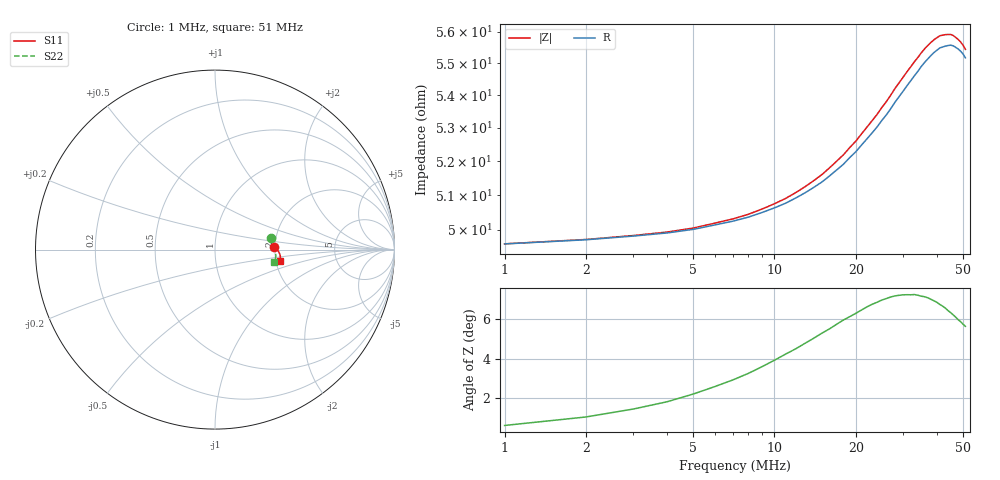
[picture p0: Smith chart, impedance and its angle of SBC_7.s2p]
# MHz S RI R 50
! S-Parameters data
! Freq  reS11  imS11  reS21  imS21  reS12  imS12  reS22  imS22
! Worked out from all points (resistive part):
!   51 points, 1 MHz to 51 MHz, reference 50 ohm
!   read as one part in series: R = 49.6 ohm at 1 MHz
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1  0.3292 0.0159  0.6587 0.0269  0.6646 0.0277  0.312 0.0623
2  0.331 0.0092  0.6608 0.00967  0.6667 0.01  0.318 0.0334
3  0.3318 0.00687  0.6611 0.0018  0.6671 0.00208  0.3202 0.023
4  0.3325 0.00571  0.6611 -0.00336  0.667 -0.0032  0.3216 0.0177
5  0.3331 0.00499  0.6609 -0.00781  0.6668 -0.00757  0.3227 0.0141
6  0.3338 0.00435  0.6604 -0.0118  0.6666 -0.0116  0.3237 0.0113
7  0.3345 0.00438  0.6601 -0.0148  0.6661 -0.0147  0.3245 0.00954
8  0.3352 0.00392  0.6596 -0.018  0.6655 -0.0181  0.3253 0.00768
10  0.3367 0.00316  0.6584 -0.0243  0.6645 -0.0242  0.3269 0.00459
11  0.3375 0.00276  0.6578 -0.0272  0.6638 -0.0272  0.3275 0.0032
15  0.3411 0.000824  0.6548 -0.0374  0.6607 -0.0377  0.3303 -0.00195
18  0.344 -0.00104  0.652 -0.0443  0.6581 -0.0446  0.3321 -0.00565
22  0.3482 -0.00455  0.648 -0.0526  0.6541 -0.0532  0.3345 -0.0113
26  0.3523 -0.00914  0.6443 -0.0599  0.6501 -0.0607  0.3366 -0.0174
30  0.3562 -0.015  0.6404 -0.0662  0.6463 -0.067  0.3381 -0.0242
33  0.3588 -0.0202  0.6378 -0.0704  0.6437 -0.0714  0.3387 -0.0298
35  0.3604 -0.0239  0.6363 -0.0728  0.6422 -0.0739  0.3389 -0.0337
39  0.3629 -0.0321  0.6337 -0.0774  0.6396 -0.0786  0.3385 -0.0418
43  0.3643 -0.0414  0.6321 -0.0815  0.6379 -0.0828  0.3368 -0.0501
46  0.3646 -0.0488  0.6315 -0.0843  0.6373 -0.0857  0.3349 -0.0564
49  0.3641 -0.0564  0.6316 -0.0871  0.6372 -0.0888  0.3321 -0.0626
51  0.3634 -0.0616  0.632 -0.0891  0.6377 -0.0906  0.3299 -0.0667
